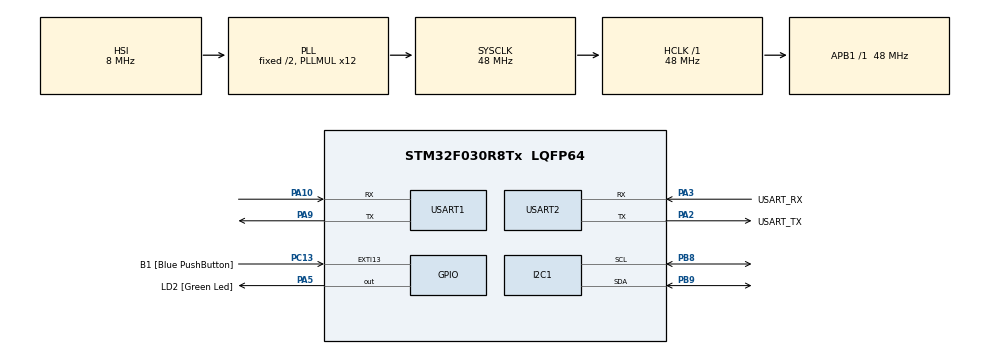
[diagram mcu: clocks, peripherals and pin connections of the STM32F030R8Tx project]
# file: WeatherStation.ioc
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FREERTOS.Mutexes01=I2CBusMutex,Dynamic,NULL;UART2BusMutex,Dynamic,NULL;UART1BusMutex,Dynamic,NULL
FREERTOS.Tasks01=taskTemperature,0,128,StartTaskTemperature,Default,NULL,Dynamic,NULL,NULL;taskHumidity,-3,128,startTaskHumidity,Default,NULL,Dynamic,NULL,NULL;taskPressure,-3,128,startTaskPressure,Default,NULL,Dynamic,NULL,NULL;taskSendDataWif,-3,512,startTaskWifi,Default,NULL,Dynamic,NULL,NULL
<<<<<<< HEAD
FREERTOS.configTOTAL_HEAP_SIZE=5500
=======
FREERTOS.configTOTAL_HEAP_SIZE=5600
>>>>>>> 6363aac0b62f397eb984c3cb0f13514ed8022a5d
Mcu.Family=STM32F0
Mcu.Name=STM32F030R8Tx
Mcu.Package=LQFP64
NVIC.TIM1_BRK_UP_TRG_COM_IRQn=true\:0\:0\:false\:false\:true\:false\:false
NVIC.TimeBase=TIM1_BRK_UP_TRG_COM_IRQn
NVIC.TimeBaseIP=TIM1
PA10.Mode=Asynchronous
PA10.Signal=USART1_RX
PA13.GPIO_Label=TMS
PA13.Mode=Serial_Wire
PA13.Signal=SYS_SWDIO
PA14.GPIO_Label=TCK
PA14.Mode=Serial_Wire
PA14.Signal=SYS_SWCLK
PA2.GPIO_Label=USART_TX
PA2.GPIO_Mode=GPIO_MODE_AF_PP
PA2.GPIO_PuPd=GPIO_NOPULL
PA2.GPIO_Speed=GPIO_SPEED_FREQ_LOW
PA2.Mode=Asynchronous
PA2.Signal=USART2_TX
PA3.GPIO_Label=USART_RX
PA3.GPIO_Mode=GPIO_MODE_AF_PP
PA3.GPIO_PuPd=GPIO_NOPULL
PA3.GPIO_Speed=GPIO_SPEED_FREQ_LOW
PA3.Mode=Asynchronous
PA3.Signal=USART2_RX
PA5.GPIO_Label=LD2 [Green Led]
PA5.GPIO_Mode=GPIO_MODE_OUTPUT_PP
PA5.GPIO_PuPd=GPIO_NOPULL
PA5.GPIO_Speed=GPIO_SPEED_FREQ_LOW
PA5.Signal=GPIO_Output
PA9.Mode=Asynchronous
PA9.Signal=USART1_TX
PB8.Mode=I2C
PB8.Signal=I2C1_SCL
PB9.Mode=I2C
PB9.Signal=I2C1_SDA
PC13.GPIO_Label=B1 [Blue PushButton]
PC13.GPIO_ModeDefaultEXTI=GPIO_MODE_IT_FALLING
PC13.Signal=GPXTI13
PC14-OSC32_IN.Mode=LSE-External-Oscillator
PC14-OSC32_IN.Signal=RCC_OSC32_IN
PC15-OSC32_OUT.Mode=LSE-External-Oscillator
PC15-OSC32_OUT.Signal=RCC_OSC32_OUT
PF0-OSC_IN.Mode=HSE-External-Clock-Source
PF0-OSC_IN.Signal=RCC_OSC_IN
PF1-OSC_OUT.Signal=RCC_OSC_OUT
ProjectManager.HeapSize=0x200
ProjectManager.StackSize=0x400
ProjectManager.TargetToolchain=SW4STM32
RCC.AHBFreq_Value=48000000
RCC.APB1Freq_Value=48000000
RCC.APB1TimFreq_Value=48000000
RCC.HCLKFreq_Value=48000000
RCC.PLLMUL=RCC_PLL_MUL12
RCC.SYSCLKFreq_VALUE=48000000
RCC.SYSCLKSource=RCC_SYSCLKSOURCE_PLLCLK
USART1.VirtualMode-Asynchronous=VM_ASYNC
USART2.VirtualMode-Asynchronous=VM_ASYNC
VP_FREERTOS_VS_ENABLE.Mode=Enabled
VP_SYS_VS_tim1.Mode=TIM1
board=NUCLEO-F030R8

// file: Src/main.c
/**
  ******************************************************************************
  * @file           : main.c
  * @brief          : Main program body
  ******************************************************************************
  * This notice applies to any and all portions of this file
  * that are not between comment pairs USER CODE BEGIN and
  * USER CODE END. Other portions of this file, whether
  * inserted by the user or by software development tools
  * are owned by their respective copyright owners.
  *
  * Copyright (c) 2018 STMicroelectronics International N.V.
  * All rights reserved.
  *
  * Redistribution and use in source and binary forms, with or without
  * modification, are permitted, provided that the following conditions are met:
  *
  * 1. Redistribution of source code must retain the above copyright notice,
  *    this list of conditions and the following disclaimer.
  * 2. Redistributions in binary form must reproduce the above copyright notice,
  *    this list of conditions and the following disclaimer in the documentation
  *    and/or other materials provided with the distribution.
  * 3. Neither the name of STMicroelectronics nor the names of other
  *    contributors to this software may be used to endorse or promote products
  *    derived from this software without specific written permission.
  * 4. This software, including modifications and/or derivative works of this
  *    software, must execute solely and exclusively on microcontroller or
  *    microprocessor devices manufactured by or for STMicroelectronics.
  * 5. Redistribution and use of this software other than as permitted under
  *    this license is void and will automatically terminate your rights under
  *    this license.
  *
  * THIS SOFTWARE IS PROVIDED BY STMICROELECTRONICS AND CONTRIBUTORS "AS IS"
  * AND ANY EXPRESS, IMPLIED OR STATUTORY WARRANTIES, INCLUDING, BUT NOT
  * LIMITED TO, THE IMPLIED WARRANTIES OF MERCHANTABILITY, FITNESS FOR A
  * PARTICULAR PURPOSE AND NON-INFRINGEMENT OF THIRD PARTY INTELLECTUAL PROPERTY
  * RIGHTS ARE DISCLAIMED TO THE FULLEST EXTENT PERMITTED BY LAW. IN NO EVENT
  * SHALL STMICROELECTRONICS OR CONTRIBUTORS BE LIABLE FOR ANY DIRECT, INDIRECT,
  * INCIDENTAL, SPECIAL, EXEMPLARY, OR CONSEQUENTIAL DAMAGES (INCLUDING, BUT NOT
  * LIMITED TO, PROCUREMENT OF SUBSTITUTE GOODS OR SERVICES; LOSS OF USE, DATA,
  * OR PROFITS; OR BUSINESS INTERRUPTION) HOWEVER CAUSED AND ON ANY THEORY OF
  * LIABILITY, WHETHER IN CONTRACT, STRICT LIABILITY, OR TORT (INCLUDING
  * NEGLIGENCE OR OTHERWISE) ARISING IN ANY WAY OUT OF THE USE OF THIS SOFTWARE,
  * EVEN IF ADVISED OF THE POSSIBILITY OF SUCH DAMAGE.
  *
  ******************************************************************************
  */
#include "main.h"
#include "stm32f0xx_hal.h"
#include "cmsis_os.h"

/* USER CODE BEGIN Includes */
#include "string.h"
#include "math.h"
#include "stdio.h"
#include "stdlib.h"

#include "measurementFunctions.h"
#include "wifiFunctions.h"
/* USER CODE END Includes */

I2C_HandleTypeDef hi2c1;

UART_HandleTypeDef huart1;
UART_HandleTypeDef huart2;

osThreadId taskTemperatureHandle;
osThreadId taskHumidityHandle;
osThreadId taskPressureHandle;
osThreadId taskSendDataWifHandle;
osMutexId I2CBusMutexHandle;
osMutexId UART2BusMutexHandle;
osMutexId UART1BusMutexHandle;

/* USER CODE BEGIN PV */
/* Private variables ---------------------------------------------------------*/

/* USER CODE END PV */

void SystemClock_Config(void);
static void MX_GPIO_Init(void);
static void MX_USART2_UART_Init(void);
static void MX_I2C1_Init(void);
static void MX_USART1_UART_Init(void);
void StartTaskTemperature(void const * argument);
void startTaskHumidity(void const * argument);
void startTaskPressure(void const * argument);
void startTaskWifi(void const * argument);

/* USER CODE BEGIN PFP */
/* Private function prototypes -----------------------------------------------*/

/* USER CODE END PFP */

int main(void)
{

  /* MCU Configuration----------------------------------------------------------*/

  /* Reset of all peripherals, Initializes the Flash interface and the Systick. */
  HAL_Init();

  /* Configure the system clock */
  SystemClock_Config();

  /* Initialize all configured peripherals */
  MX_GPIO_Init();
  MX_USART2_UART_Init();
  MX_I2C1_Init();
  MX_USART1_UART_Init();

  /* Create the mutex(es) */
  /* definition and creation of I2CBusMutex */
  osMutexDef(I2CBusMutex);
  I2CBusMutexHandle = osMutexCreate(osMutex(I2CBusMutex));

  /* definition and creation of UART2BusMutex */
  osMutexDef(UART2BusMutex);
  UART2BusMutexHandle = osMutexCreate(osMutex(UART2BusMutex));

  /* definition and creation of UART1BusMutex */
  osMutexDef(UART1BusMutex);
  UART1BusMutexHandle = osMutexCreate(osMutex(UART1BusMutex));

  /* Create the thread(s) */
  /* definition and creation of taskTemperature */
  osThreadDef(taskTemperature, StartTaskTemperature, osPriorityNormal, 0, 128);
  taskTemperatureHandle = osThreadCreate(osThread(taskTemperature), NULL);

  /* definition and creation of taskHumidity */
  osThreadDef(taskHumidity, startTaskHumidity, osPriorityIdle, 0, 128);
  taskHumidityHandle = osThreadCreate(osThread(taskHumidity), NULL);

  /* definition and creation of taskPressure */
  osThreadDef(taskPressure, startTaskPressure, osPriorityIdle, 0, 128);
  taskPressureHandle = osThreadCreate(osThread(taskPressure), NULL);

  /* definition and creation of taskSendDataWif */
  osThreadDef(taskSendDataWif, startTaskWifi, osPriorityIdle, 0, 512);
  taskSendDataWifHandle = osThreadCreate(osThread(taskSendDataWif), NULL);

  /* Start scheduler */
  osKernelStart();

  /* We should never get here as control is now taken by the scheduler */

  /* Infinite loop */
	while (1) {

	}

}

void SystemClock_Config(void)
{

  RCC_OscInitTypeDef RCC_OscInitStruct;
  RCC_ClkInitTypeDef RCC_ClkInitStruct;
  RCC_PeriphCLKInitTypeDef PeriphClkInit;

    /**Initializes the CPU, AHB and APB busses clocks
    */
  RCC_OscInitStruct.OscillatorType = RCC_OSCILLATORTYPE_HSI;
  RCC_OscInitStruct.HSIState = RCC_HSI_ON;
  RCC_OscInitStruct.HSICalibrationValue = 16;
  RCC_OscInitStruct.PLL.PLLState = RCC_PLL_ON;
  RCC_OscInitStruct.PLL.PLLSource = RCC_PLLSOURCE_HSI;
  RCC_OscInitStruct.PLL.PLLMUL = RCC_PLL_MUL12;
  RCC_OscInitStruct.PLL.PREDIV = RCC_PREDIV_DIV1;
  if (HAL_RCC_OscConfig(&RCC_OscInitStruct) != HAL_OK)
  {
    _Error_Handler(__FILE__, __LINE__);
  }

    /**Initializes the CPU, AHB and APB busses clocks
    */
  RCC_ClkInitStruct.ClockType = RCC_CLOCKTYPE_HCLK|RCC_CLOCKTYPE_SYSCLK
                              |RCC_CLOCKTYPE_PCLK1;
  RCC_ClkInitStruct.SYSCLKSource = RCC_SYSCLKSOURCE_PLLCLK;
  RCC_ClkInitStruct.AHBCLKDivider = RCC_SYSCLK_DIV1;
  RCC_ClkInitStruct.APB1CLKDivider = RCC_HCLK_DIV1;

  if (HAL_RCC_ClockConfig(&RCC_ClkInitStruct, FLASH_LATENCY_1) != HAL_OK)
  {
    _Error_Handler(__FILE__, __LINE__);
  }

  PeriphClkInit.PeriphClockSelection = RCC_PERIPHCLK_USART1|RCC_PERIPHCLK_I2C1;
  PeriphClkInit.Usart1ClockSelection = RCC_USART1CLKSOURCE_PCLK1;
  PeriphClkInit.I2c1ClockSelection = RCC_I2C1CLKSOURCE_HSI;
  if (HAL_RCCEx_PeriphCLKConfig(&PeriphClkInit) != HAL_OK)
  {
    _Error_Handler(__FILE__, __LINE__);
  }

    /**Configure the Systick interrupt time
    */
  HAL_SYSTICK_Config(HAL_RCC_GetHCLKFreq()/1000);

    /**Configure the Systick
    */
  HAL_SYSTICK_CLKSourceConfig(SYSTICK_CLKSOURCE_HCLK);

  /* SysTick_IRQn interrupt configuration */
  HAL_NVIC_SetPriority(SysTick_IRQn, 3, 0);
}

/* I2C1 init function */
static void MX_I2C1_Init(void)
{

  hi2c1.Instance = I2C1;
  hi2c1.Init.Timing = 0x2000090E;
  hi2c1.Init.OwnAddress1 = 0;
  hi2c1.Init.AddressingMode = I2C_ADDRESSINGMODE_7BIT;
  hi2c1.Init.DualAddressMode = I2C_DUALADDRESS_DISABLE;
  hi2c1.Init.OwnAddress2 = 0;
  hi2c1.Init.OwnAddress2Masks = I2C_OA2_NOMASK;
  hi2c1.Init.GeneralCallMode = I2C_GENERALCALL_DISABLE;
  hi2c1.Init.NoStretchMode = I2C_NOSTRETCH_DISABLE;
  if (HAL_I2C_Init(&hi2c1) != HAL_OK)
  {
    _Error_Handler(__FILE__, __LINE__);
  }

    /**Configure Analogue filter
    */
  if (HAL_I2CEx_ConfigAnalogFilter(&hi2c1, I2C_ANALOGFILTER_ENABLE) != HAL_OK)
  {
    _Error_Handler(__FILE__, __LINE__);
  }

    /**Configure Digital filter
    */
  if (HAL_I2CEx_ConfigDigitalFilter(&hi2c1, 0) != HAL_OK)
  {
    _Error_Handler(__FILE__, __LINE__);
  }

}

/* USART1 init function */
static void MX_USART1_UART_Init(void)
{

  huart1.Instance = USART1;
  huart1.Init.BaudRate = 115200;
  huart1.Init.WordLength = UART_WORDLENGTH_8B;
  huart1.Init.StopBits = UART_STOPBITS_1;
  huart1.Init.Parity = UART_PARITY_NONE;
  huart1.Init.Mode = UART_MODE_TX_RX;
  huart1.Init.HwFlowCtl = UART_HWCONTROL_NONE;
  huart1.Init.OverSampling = UART_OVERSAMPLING_16;
  huart1.Init.OneBitSampling = UART_ONE_BIT_SAMPLE_DISABLE;
  huart1.AdvancedInit.AdvFeatureInit = UART_ADVFEATURE_NO_INIT;
  if (HAL_UART_Init(&huart1) != HAL_OK)
  {
    _Error_Handler(__FILE__, __LINE__);
  }

}

/* USART2 init function */
static void MX_USART2_UART_Init(void)
{

  huart2.Instance = USART2;
  huart2.Init.BaudRate = 38400;
  huart2.Init.WordLength = UART_WORDLENGTH_8B;
  huart2.Init.StopBits = UART_STOPBITS_1;
  huart2.Init.Parity = UART_PARITY_NONE;
  huart2.Init.Mode = UART_MODE_TX_RX;
  huart2.Init.HwFlowCtl = UART_HWCONTROL_NONE;
  huart2.Init.OverSampling = UART_OVERSAMPLING_16;
  huart2.Init.OneBitSampling = UART_ONE_BIT_SAMPLE_DISABLE;
  huart2.AdvancedInit.AdvFeatureInit = UART_ADVFEATURE_NO_INIT;
  if (HAL_UART_Init(&huart2) != HAL_OK)
  {
    _Error_Handler(__FILE__, __LINE__);
  }

}

/** Configure pins as
        * Analog
        * Input
        * Output
        * EVENT_OUT
        * EXTI
*/
static void MX_GPIO_Init(void)
{

  GPIO_InitTypeDef GPIO_InitStruct;

  /* GPIO Ports Clock Enable */
  __HAL_RCC_GPIOC_CLK_ENABLE();
  __HAL_RCC_GPIOF_CLK_ENABLE();
  __HAL_RCC_GPIOA_CLK_ENABLE();
  __HAL_RCC_GPIOB_CLK_ENABLE();

  /*Configure GPIO pin Output Level */
  HAL_GPIO_WritePin(LD2_GPIO_Port, LD2_Pin, GPIO_PIN_RESET);

  /*Configure GPIO pin : B1_Pin */
  GPIO_InitStruct.Pin = B1_Pin;
  GPIO_InitStruct.Mode = GPIO_MODE_IT_FALLING;
  GPIO_InitStruct.Pull = GPIO_NOPULL;
  HAL_GPIO_Init(B1_GPIO_Port, &GPIO_InitStruct);

  /*Configure GPIO pin : LD2_Pin */
  GPIO_InitStruct.Pin = LD2_Pin;
  GPIO_InitStruct.Mode = GPIO_MODE_OUTPUT_PP;
  GPIO_InitStruct.Pull = GPIO_NOPULL;
  GPIO_InitStruct.Speed = GPIO_SPEED_FREQ_LOW;
  HAL_GPIO_Init(LD2_GPIO_Port, &GPIO_InitStruct);

}

/* USER CODE BEGIN 4 */
uint16_t globalPressure = 0;
int16_t globalTemperature = 0;
uint16_t globalHumidity = 0;

uint8_t isPressureDone = NOT_READY;
uint8_t isTemperatureDone = NOT_READY;
uint8_t isHumidityDoneFlag = NOT_READY;
/* USER CODE END 4 */

/* StartTaskTemperature function */
void StartTaskTemperature(void const * argument)
{

  /* USER CODE BEGIN 5 */
	uint8_t commandLoadTemp = 0xE3;
	uint8_t buffer[ MAX_BUFFER_SIZE];

	osDelay(WIFI_INIT_TIME);
	/* Infinite loop */
	for (;;) {
		get_data_from_is7021(buffer, &commandLoadTemp);

		globalTemperature = convert_data_temp_to_int(buffer);
		isTemperatureDone = READY;
		vTaskSuspend(taskTemperatureHandle);
	}
  /* USER CODE END 5 */
}

/* startTaskHumidity function */
void startTaskHumidity(void const * argument)
{
  /* USER CODE BEGIN startTaskHumidity */
	uint8_t commandLoadHumidity = 0xE5;

	uint8_t buffer[MAX_BUFFER_SIZE];

	osDelay(WIFI_INIT_TIME);
	/* Infinite loop */
	for (;;) {
		get_data_from_is7021(buffer, &commandLoadHumidity);

		globalHumidity = convert_data_humid_to_int(buffer);

		isHumidityDoneFlag = READY;
		vTaskSuspend(taskHumidityHandle);
	}
  /* USER CODE END startTaskHumidity */
}

/* startTaskPressure function */
void startTaskPressure(void const * argument)
{
  /* USER CODE BEGIN startTaskPressure */
	osDelay(WIFI_INIT_TIME);
	/* Infinite loop */
	for (;;) {
		globalPressure = (uint16_t)get_pressure();

		isPressureDone = READY;
		vTaskSuspend(taskPressureHandle);
	}
  /* USER CODE END startTaskPressure */
}

/* startTaskWifi function */
void startTaskWifi(void const * argument)
{
  /* USER CODE BEGIN startTaskWifi */
	char buffer[MAX_BUFFER_SIZE];
	int counter = 0;

	osDelay(WIFI_INIT_TIME);
	initialize_wifi_connection();

  /* Infinite loop */
  for(;;)
  {
	  if(isHumidityDoneFlag && isPressureDone && isTemperatureDone){
		  ++counter;
		  send_data_to_server(globalTemperature, globalHumidity, globalPressure);

		  xSemaphoreTake(UART2BusMutexHandle, STANDARD_MUTEX_TAKE_TIME);
		  sprintf(buffer, "%d degrees Celcius\n", globalTemperature);
		  HAL_UART_Transmit(&huart2, (uint8_t *)buffer, strlen(buffer), 100);

		  sprintf(buffer, "%d percent humid\n", globalHumidity);
		  HAL_UART_Transmit(&huart2, (uint8_t *)buffer, strlen(buffer), 100);

		  sprintf(buffer, "%d millibar of pressure\n", globalPressure);
		  HAL_UART_Transmit(&huart2, (uint8_t *)buffer, strlen(buffer), 100);

		  sprintf(buffer, "%d metingsronde zijn klaar\n\n", counter);
		  HAL_UART_Transmit(&huart2, (uint8_t *)buffer, strlen(buffer), 100);
		  xSemaphoreGive(UART2BusMutexHandle);

		  isHumidityDoneFlag = isPressureDone = isTemperatureDone = NOT_READY;

		  vTaskResume(taskTemperatureHandle);
		  vTaskResume(taskPressureHandle);
		  vTaskResume(taskHumidityHandle);

		  osDelay(MEASURE_DELAY);
	  }
  }
  /* USER CODE END startTaskWifi */
}

void HAL_TIM_PeriodElapsedCallback(TIM_HandleTypeDef *htim)
{
  if (htim->Instance == TIM1) {
    HAL_IncTick();
  }
}

void _Error_Handler(char *file, int line)
{
	while (1) {
	}
}

/************************ (C) COPYRIGHT STMicroelectronics *****END OF FILE****/
